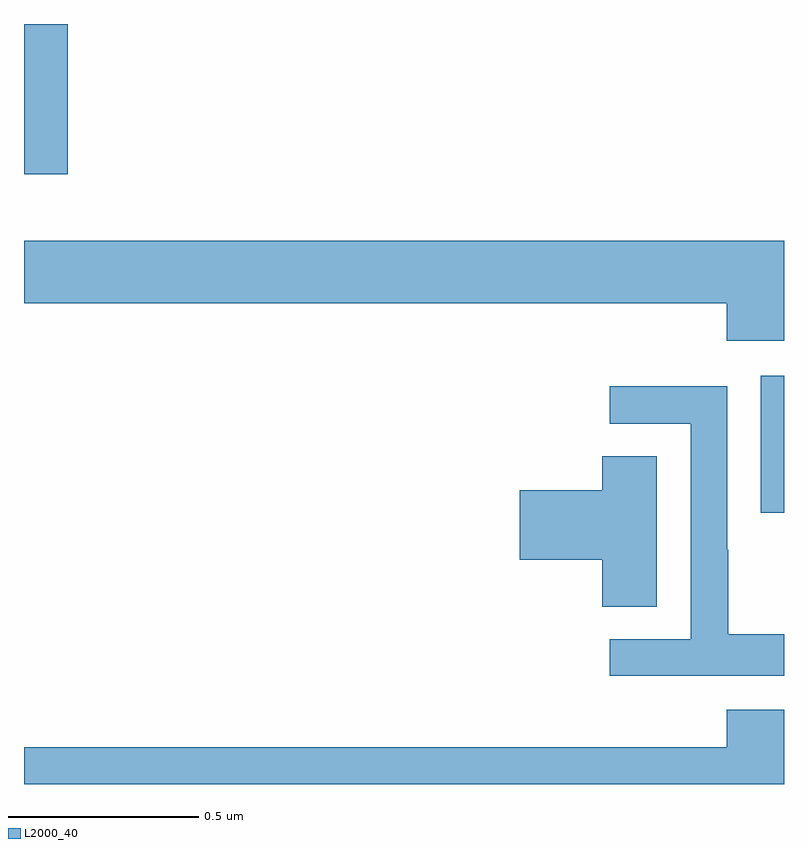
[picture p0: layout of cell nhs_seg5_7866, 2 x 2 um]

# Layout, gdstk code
import gdstk
lib = gdstk.Library(unit=1e-6, precision=1e-09)
def R(c, l, rs):  # rectangles x0, y0, x1, y1
    for r in rs: c.add(gdstk.rectangle(r[:2], r[2:], *l))
def P(c, l, *ps):  # polygons
    for p in ps: c.add(gdstk.Polygon(p, *l))
L2000_40 = (2000, 40)

nhs_seg5_7866 = lib.new_cell('nhs_seg5_7866')
R(nhs_seg5_7866, L2000_40, [(215.939,885.513,216,885.874), (214,886.404,214.115,886.799)])
P(nhs_seg5_7866, L2000_40, [(216,886.228),(214,886.228),(214,886.064),(215.849,886.064),(215.849,885.965),(216,885.965)],
  [(216,885.193),(215.853,885.193),(215.853,885.416),(215.85,885.416),(215.85,885.846),(215.541,885.846),(215.541,885.747),(215.754,885.747),(215.754,885.18),(215.541,885.18),(215.541,885.084),(216,885.084)],
  [(215.665,885.662),(215.522,885.662),(215.522,885.572),(215.304,885.572),(215.304,885.389),(215.522,885.389),(215.522,885.265),(215.665,885.265)],
  [(216,884.995),(215.849,884.995),(215.849,884.896),(214,884.896),(214,884.799),(216,884.799)])

lib.write_gds('nhs_seg5_7866.gds')
